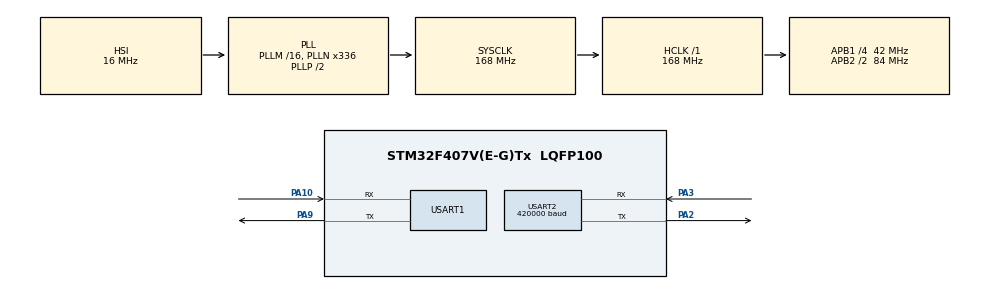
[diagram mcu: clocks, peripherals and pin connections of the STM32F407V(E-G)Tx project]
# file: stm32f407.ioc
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Dma.Request0=USART2_RX
Dma.USART2_RX.0.Direction=DMA_PERIPH_TO_MEMORY
Dma.USART2_RX.0.FIFOMode=DMA_FIFOMODE_DISABLE
Dma.USART2_RX.0.Instance=DMA1_Stream5
Dma.USART2_RX.0.MemDataAlignment=DMA_MDATAALIGN_BYTE
Dma.USART2_RX.0.MemInc=DMA_MINC_ENABLE
Dma.USART2_RX.0.Mode=DMA_CIRCULAR
Dma.USART2_RX.0.PeriphDataAlignment=DMA_PDATAALIGN_BYTE
Dma.USART2_RX.0.PeriphInc=DMA_PINC_DISABLE
Dma.USART2_RX.0.Priority=DMA_PRIORITY_HIGH
Mcu.Family=STM32F4
Mcu.Name=STM32F407V(E-G)Tx
Mcu.Package=LQFP100
NVIC.DMA1_Stream5_IRQn=true\:0\:0\:false\:false\:true\:false\:true\:true
NVIC.PriorityGroup=NVIC_PRIORITYGROUP_4
NVIC.USART2_IRQn=true\:0\:0\:false\:false\:true\:true\:true\:true
PA10.Mode=Asynchronous
PA10.Signal=USART1_RX
PA13.Mode=Serial_Wire
PA13.Signal=SYS_JTMS-SWDIO
PA14.Mode=Serial_Wire
PA14.Signal=SYS_JTCK-SWCLK
PA2.Mode=Asynchronous
PA2.Signal=USART2_TX
PA3.GPIO_PuPd=GPIO_PULLUP
PA3.Mode=Asynchronous
PA3.Signal=USART2_RX
PA9.Mode=Asynchronous
PA9.Signal=USART1_TX
PH0-OSC_IN.Mode=HSE-External-Oscillator
PH0-OSC_IN.Signal=RCC_OSC_IN
PH1-OSC_OUT.Mode=HSE-External-Oscillator
PH1-OSC_OUT.Signal=RCC_OSC_OUT
ProjectManager.HeapSize=0x200
ProjectManager.StackSize=0x400
ProjectManager.TargetToolchain=STM32CubeIDE
RCC.48MHZClocksFreq_Value=84000000
RCC.AHBFreq_Value=168000000
RCC.APB1CLKDivider=RCC_HCLK_DIV4
RCC.APB1Freq_Value=42000000
RCC.APB1TimFreq_Value=84000000
RCC.APB2CLKDivider=RCC_HCLK_DIV2
RCC.APB2Freq_Value=84000000
RCC.APB2TimFreq_Value=168000000
RCC.CortexFreq_Value=168000000
RCC.HCLKFreq_Value=168000000
RCC.HSE_VALUE=25000000
RCC.HSI_VALUE=16000000
RCC.LSE_VALUE=32768
RCC.PLLN=336
RCC.SYSCLKFreq_VALUE=168000000
RCC.SYSCLKSource=RCC_SYSCLKSOURCE_PLLCLK
RCC.VCOOutputFreq_Value=336000000
USART1.VirtualMode=VM_ASYNC
USART2.BaudRate=420000
USART2.VirtualMode=VM_ASYNC
board=custom

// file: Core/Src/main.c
/* USER CODE BEGIN Header */
/**
  ******************************************************************************
  * @file           : main.c
  * @brief          : Main program body
  ******************************************************************************
  * @attention
  *
  * Copyright (c) 2026 STMicroelectronics.
  * All rights reserved.
  *
  * This software is licensed under terms that can be found in the LICENSE file
  * in the root directory of this software component.
  * If no LICENSE file comes with this software, it is provided AS-IS.
  *
  ******************************************************************************
  */
/* USER CODE END Header */
#include "main.h"
#include "dma.h"
#include "usart.h"
#include "gpio.h"

/* USER CODE BEGIN Includes */
#include "app_main.h"
/* USER CODE END Includes */

void SystemClock_Config(void);

int main(void)
{

  /* MCU Configuration--------------------------------------------------------*/

  /* Reset of all peripherals, Initializes the Flash interface and the Systick. */
  HAL_Init();

  /* Configure the system clock */
  SystemClock_Config();

  /* Initialize all configured peripherals */
  MX_GPIO_Init();
  MX_DMA_Init();
  MX_USART1_UART_Init();
  MX_USART2_UART_Init();

  /* USER CODE BEGIN 2 */

  static const uint8_t usart2_ready_message[] =
      "[BOOT] USART2 initialized\r\n";

  (void)HAL_UART_Transmit(
      &huart1,
      (uint8_t *)usart2_ready_message,
      sizeof(usart2_ready_message) - 1U,
      100U
  );

  static const uint8_t validation_message[] =
      "[BOOT] Starting board validation\r\n";

  (void)HAL_UART_Transmit(
      &huart1,
      (uint8_t *)validation_message,
      sizeof(validation_message) - 1U,
      100U
  );

  app_main_init();

  static const uint8_t validation_ok_message[] =
      "[BOOT] Board validation passed\r\n";

  (void)HAL_UART_Transmit(
      &huart1,
      (uint8_t *)validation_ok_message,
      sizeof(validation_ok_message) - 1U,
      100U
  );

  /* USER CODE END 2 */

  /* Infinite loop */
  /* USER CODE BEGIN WHILE */
  while (1)
  {
    app_main_poll();
    /* USER CODE END WHILE */

  }
}

void SystemClock_Config(void)
{
  RCC_OscInitTypeDef RCC_OscInitStruct = {0};
  RCC_ClkInitTypeDef RCC_ClkInitStruct = {0};

  /** Configure the main internal regulator output voltage
  */
  __HAL_RCC_PWR_CLK_ENABLE();
  __HAL_PWR_VOLTAGESCALING_CONFIG(PWR_REGULATOR_VOLTAGE_SCALE1);

  /** Initializes the RCC Oscillators according to the specified parameters
  * in the RCC_OscInitTypeDef structure.
  */
  RCC_OscInitStruct.OscillatorType = RCC_OSCILLATORTYPE_HSI;
  RCC_OscInitStruct.HSIState = RCC_HSI_ON;
  RCC_OscInitStruct.HSICalibrationValue = RCC_HSICALIBRATION_DEFAULT;
  RCC_OscInitStruct.PLL.PLLState = RCC_PLL_ON;
  RCC_OscInitStruct.PLL.PLLSource = RCC_PLLSOURCE_HSI;
  RCC_OscInitStruct.PLL.PLLM = 16;
  RCC_OscInitStruct.PLL.PLLN = 336;
  RCC_OscInitStruct.PLL.PLLP = RCC_PLLP_DIV2;
  RCC_OscInitStruct.PLL.PLLQ = 4;
  if (HAL_RCC_OscConfig(&RCC_OscInitStruct) != HAL_OK)
  {
    Error_Handler();
  }

  /** Initializes the CPU, AHB and APB buses clocks
  */
  RCC_ClkInitStruct.ClockType = RCC_CLOCKTYPE_HCLK|RCC_CLOCKTYPE_SYSCLK
                              |RCC_CLOCKTYPE_PCLK1|RCC_CLOCKTYPE_PCLK2;
  RCC_ClkInitStruct.SYSCLKSource = RCC_SYSCLKSOURCE_PLLCLK;
  RCC_ClkInitStruct.AHBCLKDivider = RCC_SYSCLK_DIV1;
  RCC_ClkInitStruct.APB1CLKDivider = RCC_HCLK_DIV4;
  RCC_ClkInitStruct.APB2CLKDivider = RCC_HCLK_DIV2;

  if (HAL_RCC_ClockConfig(&RCC_ClkInitStruct, FLASH_LATENCY_5) != HAL_OK)
  {
    Error_Handler();
  }
}

void Error_Handler(void)
{
  __disable_irq();
  while (1)
  {
  }
}
